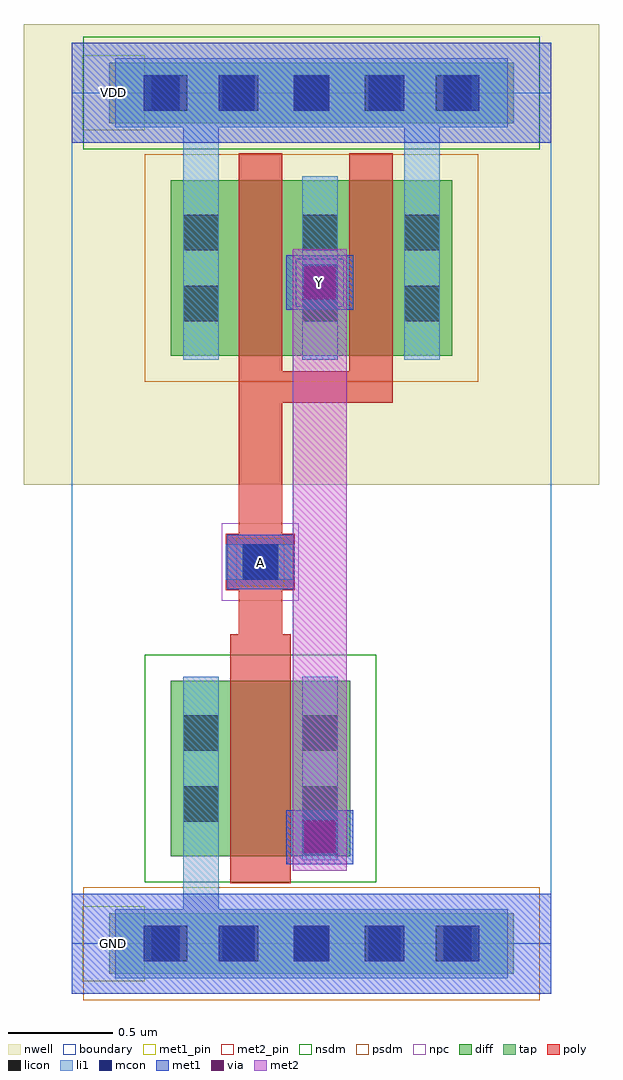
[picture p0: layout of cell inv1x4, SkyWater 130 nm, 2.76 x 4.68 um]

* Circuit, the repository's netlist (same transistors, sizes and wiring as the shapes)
** sch_path: /foss/designs/inv1x4.sch
.subckt inv1x4 A Y VDD GND
*.PININFO A:I Y:O VDD:B GND:B
XM1 Y A GND GND sky130_fd_pr__nfet_01v8 L=0.29 W=0.84 nf=1
XM2 Y A VDD VDD sky130_fd_pr__pfet_01v8 L=0.21 W=1.68 nf=2
.ends

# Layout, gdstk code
import gdstk
lib = gdstk.Library(unit=1e-6, precision=1e-09)
def R(c, l, rs):  # rectangles x0, y0, x1, y1
    for r in rs: c.add(gdstk.rectangle(r[:2], r[2:], *l))
def A(c, l, x, y, w, h, nx, ny, dx, dy):  # array of equal rectangles
    R(c, l, [(x+i*dx, y+j*dy, x+i*dx+w, y+j*dy+h) for i in range(nx) for j in range(ny)])
nwell = (64, 20)
diff = (65, 20)
tap = (65, 44)
poly = (66, 20)
licon = (66, 44)
li1 = (67, 20)
mcon = (67, 44)
met1_pin = (68, 16)
met1 = (68, 20)
via = (68, 44)
met2_pin = (69, 16)
met2 = (69, 20)
nsdm = (93, 44)
psdm = (94, 20)
npc = (95, 20)
boundary = (235, 4)

inv1x4 = lib.new_cell('inv1x4')
R(inv1x4, nwell, [(-0.23,2.2,2.53,4.41)])
R(inv1x4, diff, [(0.475,0.42,1.335,1.26), (0.475,2.82,1.825,3.66)])
R(inv1x4, tap, [(0.18,-0.145,2.12,0.145), (0.18,3.935,2.12,4.225)])
R(inv1x4, poly, [(0.76,0.29,1.05,1.485), (0.8,1.485,1.01,1.695), (0.74,1.695,1.07,1.965), (0.8,1.965,1.01,2.595), (0.8,2.595,1.54,2.745), (0.8,2.745,1.01,3.79), (1.33,2.745,1.54,3.79)])
A(inv1x4, licon, 0.385, -0.085, 0.17, 0.17, 5, 2, 0.34, 4.08)
R(inv1x4, licon, [(0.535,0.585,0.705,0.755), (1.105,0.585,1.275,0.755), (0.535,0.925,0.705,1.095), (1.105,0.925,1.275,1.095), (0.82,1.745,0.99,1.915), (0.535,2.985,0.705,3.155), (1.105,2.985,1.275,3.155), (1.595,2.985,1.765,3.155), (0.535,3.325,0.705,3.495), (1.105,3.325,1.275,3.495), (1.595,3.325,1.765,3.495)])
R(inv1x4, li1, [(0.21,-0.165,2.09,0.165), (0.535,0.165,0.705,1.28), (1.105,0.4,1.275,1.28), (0.74,1.745,1.07,1.915), (0.535,2.8,0.705,3.915), (1.105,2.8,1.275,3.68), (1.595,2.8,1.765,3.915), (0.21,3.915,2.09,4.245)])
A(inv1x4, mcon, 0.345, -0.085, 0.17, 0.17, 5, 2, 0.36, 4.08)
R(inv1x4, mcon, [(1.105,0.425,1.275,0.595), (0.82,1.745,0.99,1.915), (1.105,3.085,1.275,3.255)])
R(inv1x4, met1_pin, [(0.05,-0.18,0.35,0.18), (0.79,1.715,1.02,1.945), (0.05,3.9,0.35,4.26)])
R(inv1x4, met1, [(0,-0.24,2.3,0.24), (1.03,0.38,1.35,0.64), (0.745,1.7,1.065,1.96), (1.03,3.04,1.35,3.3), (0,3.84,2.3,4.32)])
R(inv1x4, via, [(1.115,0.435,1.265,0.585), (1.115,3.095,1.265,3.245)])
R(inv1x4, met2_pin, [(1.075,3.055,1.305,3.285)])
R(inv1x4, met2, [(1.06,0.35,1.32,3.33)])
R(inv1x4, nsdm, [(0.35,0.295,1.46,1.385), (0.055,3.81,2.245,4.35)])
R(inv1x4, psdm, [(0.055,-0.27,2.245,0.27), (0.35,2.695,1.95,3.785)])
R(inv1x4, npc, [(0.72,1.645,1.09,2.015)])
R(inv1x4, boundary, [(0,0,2.3,4.08)])
inv1x4.add(gdstk.Label('A', (0.905,1.83), layer=68, texttype=5))
inv1x4.add(gdstk.Label('Y', (1.19,3.17), layer=69, texttype=5))
inv1x4.add(gdstk.Label('VDD', (0.2,4.08), layer=68, texttype=5))
inv1x4.add(gdstk.Label('GND', (0.2,0), layer=68, texttype=5))

lib.write_gds('inv1x4.gds')
